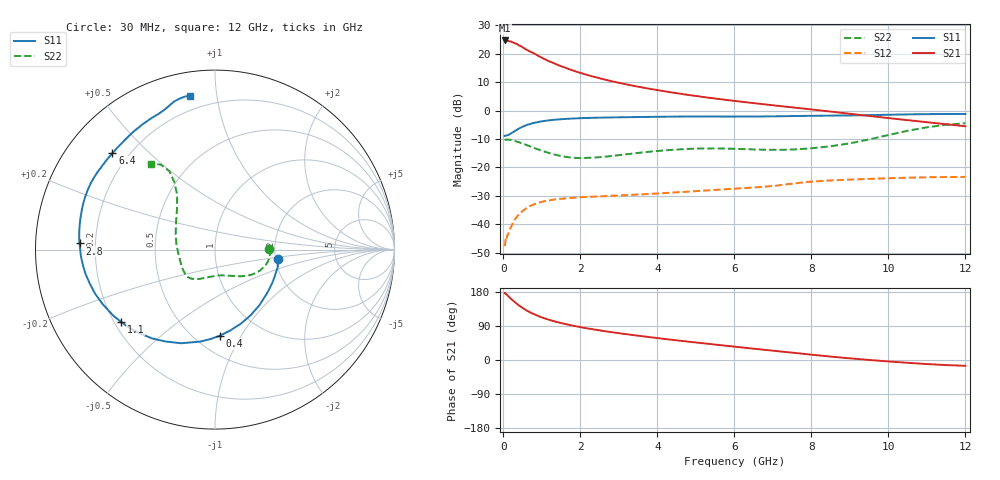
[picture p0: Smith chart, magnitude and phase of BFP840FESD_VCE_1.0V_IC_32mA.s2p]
! Infineon Technologies  Discrete & RF Semiconductors
! BFP840FESD
! VCE =  1.0 V,  IC =  32 mA
! Common Emitter S-Parameters:  May 2012
# GHz  S  MA  R  50
!  f  S11  S21  S12  S22
! GHz  MAG  ANG  MAG  ANG  MAG  ANG  MAG  ANG
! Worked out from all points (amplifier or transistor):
!   103 points, 30 MHz to 12 GHz, reference 50 ohm
!   highest |S21| = 24.7 dB at 30 MHz (marker M1)
!   |S21| within 3 dB of that: start of sweep to 568.2 MHz
!   unconditionally stable (mu >= 1): start of sweep to end of sweep
!   at 400 MHz: K = 1.74, MAG = 24.8 dB, |S12| = -36.6 dB
!   at 3.7 GHz: K = 2.27, MAG = 12.3 dB, |S12| = -29.4 dB
!   at 12 GHz: K = 2.61, MAG = 1.9 dB, |S12| = -23.4 dB
!   S11 on the Smith chart (normalised r, x): 30 MHz: 2.07, -0.26; 400 MHz: 0.65, -0.82; 1.1 GHz: 0.23, -0.32; 2.8 GHz: 0.14, +0.02; 6.4 GHz: 0.14, +0.39; 12 GHz: 0.12, +0.84
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0.03  0.3576 -8.8  17.1 176.5  0.0041 25.7  0.3011 0.7
0.04  0.3571 -11.4  16.98 175.5  0.0044 28.4  0.3044 -0.3
0.05  0.3619 -14.2  16.98 176.1  0.0048 21.5  0.3051 -1.2
0.12  0.3704 -32.6  16.86 169.1  0.0066 42.0  0.3079 -7.0
0.2  0.3966 -51.4  16.29 161.1  0.0091 48.8  0.302 -12.7
0.3  0.4374 -70.9  15.24 152.2  0.0122 50.1  0.2903 -19.2
0.35  0.458 -79.2  14.84 148.2  0.0136 49.5  0.2827 -21.9
0.4  0.4808 -86.8  14.02 144.1  0.0148 49.6  0.2773 -24.9
0.5  0.5194 -99.2  12.94 137.1  0.0171 47.5  0.2626 -29.7
0.6  0.5545 -109.8  11.74 130.8  0.0192 44.7  0.2473 -34.4
0.7  0.5816 -118.3  10.84 125.4  0.021 42.5  0.2328 -38.3
0.9  0.6275 -132.0  9.197 116.2  0.0237 38.5  0.2067 -45.9
1.1  0.6602 -142.4  7.846 108.8  0.0256 35.4  0.1859 -52.7
1.5  0.7029 -157.0  6.003 97.5  0.028 31.1  0.1579 -66.0
2.1  0.7371 -171.3  4.373 84.8  0.0299 28.1  0.1463 -86.1
2.8  0.7557 177.4  3.295 73.6  0.0317 27.7  0.1581 -103.6
4.1  0.7776 160.8  2.23 56.6  0.0349 30.2  0.1964 -123.3
6.1  0.7833 140.1  1.451 34.2  0.0425 33.6  0.211 -147.2
6.4  0.7846 136.8  1.374 30.9  0.0438 34.0  0.2081 -152.3
8.5  0.8137 115.7  0.958 9.0  0.0588 30.6  0.235 158.9
10.5  0.8555 105.6  0.677 -7.4  0.0657 23.2  0.4407 121.0
12  0.8689 99.3  0.528 -15.3  0.0679 20.4  0.5969 126.8
